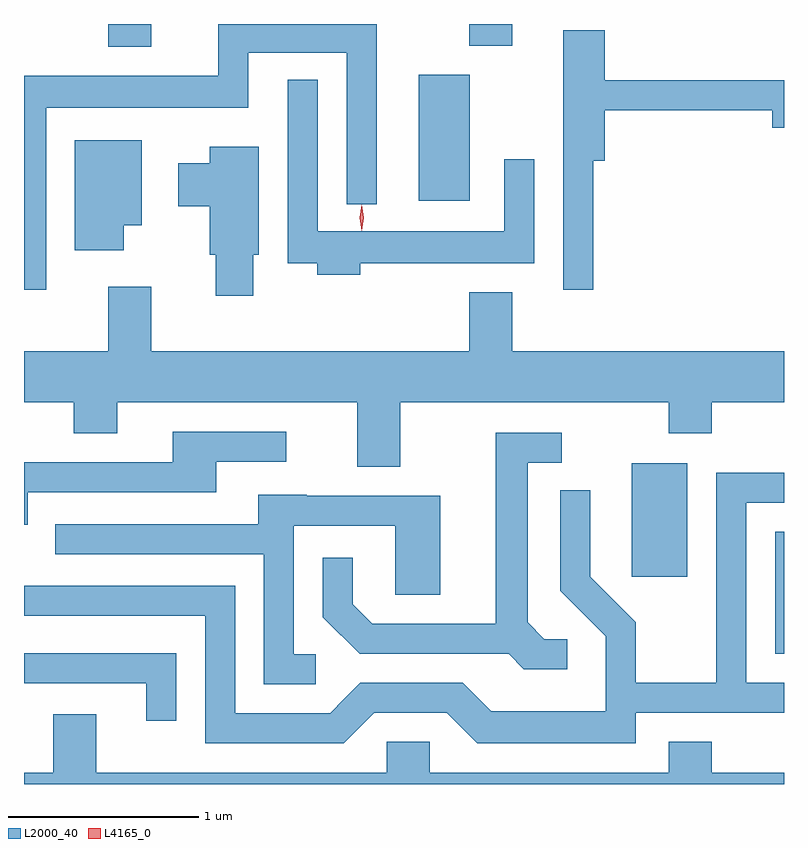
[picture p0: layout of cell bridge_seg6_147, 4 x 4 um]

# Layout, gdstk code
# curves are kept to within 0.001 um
import gdstk
lib = gdstk.Library(unit=1e-6, precision=1e-09)
def R(c, l, rs):  # rectangles x0, y0, x1, y1
    for r in rs: c.add(gdstk.rectangle(r[:2], r[2:], *l))
def P(c, l, *ps):  # polygons
    for p in ps: c.add(gdstk.Polygon(p, *l))
L2000_40 = (2000, 40)
L4165_0 = (4165, 0)

bridge_seg6_147 = lib.new_cell('bridge_seg6_147')
R(bridge_seg6_147, L2000_40, [(1139.171,1564.251,1139.218,1564.894), (1138.416,1564.656,1138.709,1565.254), (1137.296,1566.636,1137.564,1567.299), (1135.661,1567.446,1135.889,1567.566), (1137.561,1567.451,1137.789,1567.566)])
P(bridge_seg6_147, L2000_40, [(1135.334,1567.126),(1136.399,1567.126),(1136.399,1567.416),(1136.916,1567.416),(1136.916,1566.618),(1137.074,1566.618),(1137.074,1567.566),(1136.241,1567.566),(1136.241,1567.294),(1135.218,1567.294),(1135.218,1566.168),(1135.334,1566.168)],
  [(1138.214,1566.846),(1138.274,1566.846),(1138.274,1567.111),(1139.156,1567.111),(1139.156,1567.021),(1139.218,1567.021),(1139.218,1567.269),(1138.274,1567.269),(1138.274,1567.534),(1138.056,1567.534),(1138.056,1566.168),(1138.214,1566.168)],
  [(1136.989,1566.306),(1137.904,1566.306),(1137.904,1566.853),(1137.746,1566.853),(1137.746,1566.474),(1136.764,1566.474),(1136.764,1567.273),(1136.606,1567.273),(1136.606,1566.306),(1136.761,1566.306),(1136.761,1566.246),(1136.989,1566.246)],
  [(1135.744,1566.506),(1135.839,1566.506),(1135.839,1566.954),(1135.486,1566.954),(1135.486,1566.376),(1135.744,1566.376)],
  [(1136.424,1566.351),(1136.454,1566.351),(1136.454,1566.919),(1136.196,1566.919),(1136.196,1566.834),(1136.031,1566.834),(1136.031,1566.606),(1136.196,1566.606),(1136.196,1566.351),(1136.226,1566.351),(1136.226,1566.136),(1136.424,1566.136)],
  [(1137.199,1565.576),(1138.611,1565.576),(1138.611,1565.411),(1138.839,1565.411),(1138.839,1565.576),(1139.218,1565.576),(1139.218,1565.844),(1137.789,1565.844),(1137.789,1566.154),(1137.561,1566.154),(1137.561,1565.844),(1135.889,1565.844),(1135.889,1566.184),(1135.661,1566.184),(1135.661,1565.844),(1135.218,1565.844),(1135.218,1565.576),(1135.481,1565.576),(1135.481,1565.411),(1135.709,1565.411),(1135.709,1565.576),(1136.971,1565.576),(1136.971,1565.236),(1137.199,1565.236)],
  [(1135.239,1565.101),(1136.229,1565.101),(1136.229,1565.261),(1136.598,1565.261),(1136.598,1565.419),(1136.001,1565.419),(1136.001,1565.259),(1135.218,1565.259),(1135.218,1564.931),(1135.239,1564.931)],
  [(1138.078,1564.329),(1137.957,1564.329),(1137.869,1564.417),(1137.869,1565.256),(1138.048,1565.256),(1138.048,1565.414),(1137.701,1565.414),(1137.701,1564.409),(1137.052,1564.409),(1136.949,1564.512),(1136.949,1564.758),(1136.791,1564.758),(1136.791,1564.444),(1136.984,1564.251),(1137.769,1564.251),(1137.849,1564.171),(1138.078,1564.171)],
  [(1137.062,1563.941),(1137.444,1563.941),(1137.604,1563.781),(1138.439,1563.781),(1138.439,1563.941),(1139.218,1563.941),(1139.218,1564.099),(1139.019,1564.099),(1139.019,1565.046),(1139.218,1565.046),(1139.218,1565.204),(1138.861,1565.204),(1138.861,1564.099),(1138.439,1564.099),(1138.439,1564.417),(1138.199,1564.657),(1138.199,1565.113),(1138.041,1565.113),(1138.041,1564.584),(1138.281,1564.344),(1138.281,1563.949),(1137.677,1563.949),(1137.527,1564.099),(1136.989,1564.099),(1136.829,1563.939),(1136.329,1563.939),(1136.329,1564.609),(1135.218,1564.609),(1135.218,1564.451),(1136.171,1564.451),(1136.171,1563.781),(1136.902,1563.781)],
  [(1136.753,1564.249),(1136.639,1564.249),(1136.639,1564.926),(1137.171,1564.926),(1137.171,1564.561),(1137.409,1564.561),(1137.409,1565.084),(1136.705,1565.084),(1136.705,1565.089),(1136.451,1565.089),(1136.451,1564.934),(1135.383,1564.934),(1135.383,1564.776),(1136.481,1564.776),(1136.481,1564.091),(1136.753,1564.091)],
  [(1136.019,1564.254),(1135.218,1564.254),(1135.218,1564.096),(1135.861,1564.096),(1135.861,1563.898),(1136.019,1563.898)],
  [(1139.218,1563.624),(1138.839,1563.624),(1138.839,1563.789),(1138.611,1563.789),(1138.611,1563.624),(1137.354,1563.624),(1137.354,1563.789),(1137.126,1563.789),(1137.126,1563.624),(1135.599,1563.624),(1135.599,1563.934),(1135.371,1563.934),(1135.371,1563.624),(1135.218,1563.624),(1135.218,1563.566),(1139.218,1563.566)])
P(bridge_seg6_147, L4165_0, [(1136.995,1566.48),(1136.995,1566.48),(1136.985,1566.546),(1136.995,1566.612),(1136.995,1566.613),(1136.996,1566.612),(1137.005,1566.546),(1136.996,1566.48)],
  [(1136.995,1566.477),(1136.995,1566.477),(1136.985,1566.547),(1136.995,1566.616),(1136.995,1566.616),(1136.996,1566.616),(1137.005,1566.547),(1136.996,1566.477)])

lib.write_gds('bridge_seg6_147.gds')
